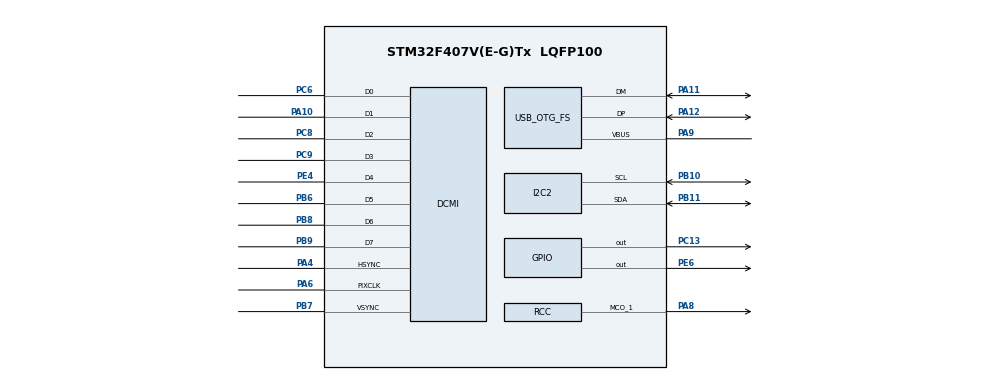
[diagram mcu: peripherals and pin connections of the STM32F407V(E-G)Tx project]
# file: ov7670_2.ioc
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Dma.I2C2_RX.0.Direction=DMA_PERIPH_TO_MEMORY
Dma.I2C2_RX.0.FIFOMode=DMA_FIFOMODE_DISABLE
Dma.I2C2_RX.0.Instance=DMA1_Stream2
Dma.I2C2_RX.0.MemDataAlignment=DMA_MDATAALIGN_BYTE
Dma.I2C2_RX.0.MemInc=DMA_MINC_ENABLE
Dma.I2C2_RX.0.Mode=DMA_CIRCULAR
Dma.I2C2_RX.0.PeriphDataAlignment=DMA_PDATAALIGN_BYTE
Dma.I2C2_RX.0.PeriphInc=DMA_PINC_DISABLE
Dma.I2C2_RX.0.Priority=DMA_PRIORITY_LOW
Dma.Request0=I2C2_RX
Mcu.Family=STM32F4
Mcu.Name=STM32F407V(E-G)Tx
Mcu.Package=LQFP100
NVIC.DMA1_Stream2_IRQn=true\:0\:0\:false\:false\:true\:false\:true\:true
NVIC.OTG_FS_IRQn=true\:0\:0\:false\:false\:true\:false\:true\:true
NVIC.PriorityGroup=NVIC_PRIORITYGROUP_4
PA10.Mode=Slave_8_bits_External_Synchro
PA10.Signal=DCMI_D1
PA11.Mode=Device_Only
PA11.Signal=USB_OTG_FS_DM
PA12.Mode=Device_Only
PA12.Signal=USB_OTG_FS_DP
PA4.Mode=Slave_8_bits_External_Synchro
PA4.Signal=DCMI_HSYNC
PA6.Mode=Slave_8_bits_External_Synchro
PA6.Signal=DCMI_PIXCLK
PA8.Mode=Clock-out-1
PA8.Signal=RCC_MCO_1
PA9.Mode=Activate_VBUS
PA9.Signal=USB_OTG_FS_VBUS
PB10.Mode=I2C
PB10.Signal=I2C2_SCL
PB11.Mode=I2C
PB11.Signal=I2C2_SDA
PB6.Mode=Slave_8_bits_External_Synchro
PB6.Signal=DCMI_D5
PB7.Mode=Slave_8_bits_External_Synchro
PB7.Signal=DCMI_VSYNC
PB8.Mode=Slave_8_bits_External_Synchro
PB8.Signal=DCMI_D6
PB9.Mode=Slave_8_bits_External_Synchro
PB9.Signal=DCMI_D7
PC13-ANTI_TAMP.Signal=GPIO_Output
PC6.Mode=Slave_8_bits_External_Synchro
PC6.Signal=DCMI_D0
PC8.Mode=Slave_8_bits_External_Synchro
PC8.Signal=DCMI_D2
PC9.Mode=Slave_8_bits_External_Synchro
PC9.Signal=DCMI_D3
PE4.Mode=Slave_8_bits_External_Synchro
PE4.Signal=DCMI_D4
PE6.Signal=GPIO_Output
ProjectManager.HeapSize=0x200
ProjectManager.StackSize=0x400
ProjectManager.TargetToolchain=CMake
RCC.AHBFreq_Value=16000000
RCC.APB1Freq_Value=16000000
RCC.APB2Freq_Value=16000000
RCC.CortexFreq_Value=16000000
RCC.HSE_VALUE=25000000
RCC.HSI_VALUE=16000000
RCC.LSE_VALUE=32768
RCC.PLLSourceVirtualString=RCC_PLLSOURCE_HSI
RCC.RCC_MCO1Source=RCC_MCO1SOURCE_PLLCLK
RCC.RCC_MCODiv1=RCC_MCODIV_4
RCC.SYSCLKFreq_VALUE=16000000
RCC.VCOOutputFreq_Value=192000000
USB_DEVICE.CLASS_NAME_FS=CDC
USB_DEVICE.VirtualMode-CDC_FS=Cdc
USB_DEVICE.VirtualModeFS=Cdc_FS
USB_OTG_FS.VirtualMode=Device_Only
VP_USB_DEVICE_VS_USB_DEVICE_CDC_FS.Mode=CDC_FS
board=custom

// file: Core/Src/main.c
/* USER CODE BEGIN Header */
/**
  ******************************************************************************
  * @file           : main.c
  * @brief          : Main program body
  ******************************************************************************
  * @attention
  *
  * Copyright (c) 2025 STMicroelectronics.
  * All rights reserved.
  *
  * This software is licensed under terms that can be found in the LICENSE file
  * in the root directory of this software component.
  * If no LICENSE file comes with this software, it is provided AS-IS.
  *
  ******************************************************************************
  */
/* USER CODE END Header */
#include "main.h"
#include "usb_device.h"

/* USER CODE BEGIN Includes */
#include "ov7670.h"
#include <stdio.h>
#include <string.h>
/* USER CODE END Includes */

DCMI_HandleTypeDef hdcmi;

I2C_HandleTypeDef hi2c2;
DMA_HandleTypeDef hdma_i2c2_rx;

/* USER CODE BEGIN PV */
#define IMAGE_WIDTH  160
#define IMAGE_HEIGHT 120
#define IMAGE_SIZE (IMAGE_WIDTH * IMAGE_HEIGHT * 2)  // 16-bit per pixel

uint8_t image_buffer[IMAGE_SIZE];
volatile uint8_t image_ready = 0;
/* USER CODE END PV */

void SystemClock_Config(void);
static void MX_GPIO_Init(void);
static void MX_DMA_Init(void);
static void MX_DCMI_Init(void);
static void MX_I2C2_Init(void);
/* USER CODE BEGIN PFP */
void OV7670_Init(void);
void DCMI_CaptureImage(void);
/* USER CODE END PFP */

int main(void)
{

  /* MCU Configuration--------------------------------------------------------*/

  /* Reset of all peripherals, Initializes the Flash interface and the Systick. */
  HAL_Init();

  /* Configure the system clock */
  SystemClock_Config();

  /* Initialize all configured peripherals */
  MX_GPIO_Init();
  MX_DMA_Init();
  MX_DCMI_Init();
  MX_I2C2_Init();
  MX_USB_DEVICE_Init();
  /* USER CODE BEGIN 2 */
  OV7670_Init();
  HAL_Delay(100); // Wait for camera to initialize
  /* USER CODE END 2 */

  /* Infinite loop */
  while (1)
  {

    /* USER CODE BEGIN 3 */
    if (!image_ready) {
      DCMI_CaptureImage();

    }
  /* USER CODE END 3 */
}

void SystemClock_Config(void);
{
  RCC_OscInitTypeDef RCC_OscInitStruct = {0};
  RCC_ClkInitTypeDef RCC_ClkInitStruct = {0};

  /** Configure the main internal regulator output voltage
  */
  __HAL_RCC_PWR_CLK_ENABLE();
  __HAL_PWR_VOLTAGESCALING_CONFIG(PWR_REGULATOR_VOLTAGE_SCALE1);

  /** Initializes the RCC Oscillators according to the specified parameters
  * in the RCC_OscInitTypeDef structure.
  */
  RCC_OscInitStruct.OscillatorType = RCC_OSCILLATORTYPE_HSI;
  RCC_OscInitStruct.HSIState = RCC_HSI_ON;
  RCC_OscInitStruct.HSICalibrationValue = RCC_HSICALIBRATION_DEFAULT;
  RCC_OscInitStruct.PLL.PLLState = RCC_PLL_ON;
  RCC_OscInitStruct.PLL.PLLSource = RCC_PLLSOURCE_HSI;
  RCC_OscInitStruct.PLL.PLLM = 16;
  RCC_OscInitStruct.PLL.PLLN = 192;
  RCC_OscInitStruct.PLL.PLLP = RCC_PLLP_DIV2;
  RCC_OscInitStruct.PLL.PLLQ = 4;
  if (HAL_RCC_OscConfig(&RCC_OscInitStruct) != HAL_OK)
  {
    Error_Handler();
  }

  /** Initializes the CPU, AHB and APB buses clocks
  */
  RCC_ClkInitStruct.ClockType = RCC_CLOCKTYPE_HCLK|RCC_CLOCKTYPE_SYSCLK
                              |RCC_CLOCKTYPE_PCLK1|RCC_CLOCKTYPE_PCLK2;
  RCC_ClkInitStruct.SYSCLKSource = RCC_SYSCLKSOURCE_HSI;
  RCC_ClkInitStruct.AHBCLKDivider = RCC_SYSCLK_DIV1;
  RCC_ClkInitStruct.APB1CLKDivider = RCC_HCLK_DIV1;
  RCC_ClkInitStruct.APB2CLKDivider = RCC_HCLK_DIV1;

  if (HAL_RCC_ClockConfig(&RCC_ClkInitStruct, FLASH_LATENCY_0) != HAL_OK)
  {
    Error_Handler();
  }
  HAL_RCC_MCOConfig(RCC_MCO1, RCC_MCO1SOURCE_PLLCLK, RCC_MCODIV_4);
}

void MX_DCMI_Init(void);

  hdcmi.Instance = DCMI;
  hdcmi.Init.SynchroMode = DCMI_SYNCHRO_HARDWARE;
  hdcmi.Init.PCKPolarity = DCMI_PCKPOLARITY_FALLING;
  hdcmi.Init.VSPolarity = DCMI_VSPOLARITY_LOW;
  hdcmi.Init.HSPolarity = DCMI_HSPOLARITY_LOW;
  hdcmi.Init.CaptureRate = DCMI_CR_ALL_FRAME;
  hdcmi.Init.ExtendedDataMode = DCMI_EXTEND_DATA_8B;
  hdcmi.Init.JPEGMode = DCMI_JPEG_DISABLE;
  if (HAL_DCMI_Init(&hdcmi) != HAL_OK)
  {
    Error_Handler();
  }

}

static void MX_I2C2_Init(void)
{

  hi2c2.Instance = I2C2;
  hi2c2.Init.ClockSpeed = 100000;
  hi2c2.Init.DutyCycle = I2C_DUTYCYCLE_2;
  hi2c2.Init.OwnAddress1 = 0;
  hi2c2.Init.AddressingMode = I2C_ADDRESSINGMODE_7BIT;
  hi2c2.Init.DualAddressMode = I2C_DUALADDRESS_DISABLE;
  hi2c2.Init.OwnAddress2 = 0;
  hi2c2.Init.GeneralCallMode = I2C_GENERALCALL_DISABLE;
  hi2c2.Init.NoStretchMode = I2C_NOSTRETCH_DISABLE;
  if (HAL_I2C_Init(&hi2c2) != HAL_OK)
  {
    Error_Handler();
  }

}

static void MX_DMA_Init(void)
{

  /* DMA controller clock enable */
  __HAL_RCC_DMA1_CLK_ENABLE();

  /* DMA interrupt init */
  /* DMA1_Stream2_IRQn interrupt configuration */
  HAL_NVIC_SetPriority(DMA1_Stream2_IRQn, 0, 0);
  HAL_NVIC_EnableIRQ(DMA1_Stream2_IRQn);

}

static void MX_GPIO_Init(void)
{
  GPIO_InitTypeDef GPIO_InitStruct = {0};

  /* GPIO Ports Clock Enable */
  __HAL_RCC_GPIOE_CLK_ENABLE();
  __HAL_RCC_GPIOC_CLK_ENABLE();
  __HAL_RCC_GPIOA_CLK_ENABLE();
  __HAL_RCC_GPIOB_CLK_ENABLE();

  /*Configure GPIO pin Output Level */
  HAL_GPIO_WritePin(GPIOE, GPIO_PIN_6, GPIO_PIN_RESET);

  /*Configure GPIO pin Output Level */
  HAL_GPIO_WritePin(GPIOC, GPIO_PIN_13, GPIO_PIN_RESET);

  /*Configure GPIO pin : PE6 */
  GPIO_InitStruct.Pin = GPIO_PIN_6;
  GPIO_InitStruct.Mode = GPIO_MODE_OUTPUT_PP;
  GPIO_InitStruct.Pull = GPIO_NOPULL;
  GPIO_InitStruct.Speed = GPIO_SPEED_FREQ_LOW;
  HAL_GPIO_Init(GPIOE, &GPIO_InitStruct);

  /*Configure GPIO pin : PC13 */
  GPIO_InitStruct.Pin = GPIO_PIN_13;
  GPIO_InitStruct.Mode = GPIO_MODE_OUTPUT_PP;
  GPIO_InitStruct.Pull = GPIO_NOPULL;
  GPIO_InitStruct.Speed = GPIO_SPEED_FREQ_LOW;
  HAL_GPIO_Init(GPIOC, &GPIO_InitStruct);

  /*Configure GPIO pin : PA8 */
  GPIO_InitStruct.Pin = GPIO_PIN_8;
  GPIO_InitStruct.Mode = GPIO_MODE_AF_PP;
  GPIO_InitStruct.Pull = GPIO_NOPULL;
  GPIO_InitStruct.Speed = GPIO_SPEED_FREQ_LOW;
  GPIO_InitStruct.Alternate = GPIO_AF0_MCO;
  HAL_GPIO_Init(GPIOA, &GPIO_InitStruct);

}

/* USER CODE BEGIN 4 */
/* USER CODE BEGIN 4 */
static void MX_DCMI_Init(void)
{
  /* USER CODE BEGIN DCMI_Init 0 */

  /* USER CODE END DCMI_Init 0 */

  /* USER CODE BEGIN DCMI_Init 1 */

  /* USER CODE END DCMI_Init 1 */
  hdcmi.Instance = DCMI;
  hdcmi.Init.SynchroMode = DCMI_SYNCHRO_HARDWARE;
  hdcmi.Init.PCKPolarity = DCMI_PCKPOLARITY_FALLING;
  hdcmi.Init.VSPolarity = DCMI_VSPOLARITY_LOW;
  hdcmi.Init.HSPolarity = DCMI_HSPOLARITY_LOW;
  hdcmi.Init.CaptureRate = DCMI_CR_ALL_FRAME;
  hdcmi.Init.ExtendedDataMode = DCMI_EXTEND_DATA_8B;
  hdcmi.Init.JPEGMode = DCMI_JPEG_DISABLE;
  if (HAL_DCMI_Init(&hdcmi) != HAL_OK)
  {
    Error_Handler();
  }
  /* USER CODE BEGIN DCMI_Init 2 */

  /* USER CODE END DCMI_Init 2 */
}

void OV7670_Init(void) {
  HAL_GPIO_WritePin(GPIOE, GPIO_PIN_6, GPIO_PIN_RESET);
  HAL_Delay(100);
  HAL_GPIO_WritePin(GPIOE, GPIO_PIN_6, GPIO_PIN_SET);
  HAL_Delay(100);

  // Configure OV7670 registers via I2C
  OV7670_WriteReg(0x12, 0x80); // Reset all registers
  HAL_Delay(100);

  // Set up QVGA RGB565 output
  OV7670_WriteReg(0x12, 0x0C); // Output format - RGB
  OV7670_WriteReg(0x40, 0xD0); // RGB565
  OV7670_WriteReg(0x3A, 0x04); // TSLB - set RGB565
  OV7670_WriteReg(0x11, 0x80); // PCLK divider
  OV7670_WriteReg(0x0C, 0x08); // COM3 - enable scaling
  OV7670_WriteReg(0x3E, 0x08); // COM14 - scaling parameter
  OV7670_WriteReg(0x72, 0x11); // Scaling X
  OV7670_WriteReg(0x73, 0xF1); // Scaling Y
}

void DCMI_CaptureImage(void) {
  // Start capture
  if (HAL_DCMI_Start_DMA(&hdcmi, DCMI_MODE_CONTINUOUS, (uint32_t)image_buffer, IMAGE_SIZE/4) != HAL_OK) {
      Error_Handler();
  }
}

void HAL_DCMI_FrameEventCallback(DCMI_HandleTypeDef *hdcmi) {
  image_ready = 1;
}

void OV7670_WriteReg(uint8_t reg, uint8_t val) {
  uint8_t data[2] = {reg, val};
  HAL_I2C_Master_Transmit(&hi2c2, 0x42, data, 2, HAL_MAX_DELAY);
}
/* USER CODE END 4 */

void Error_Handler(void)
{
  __disable_irq();
  while (1)
  {
  }
}
